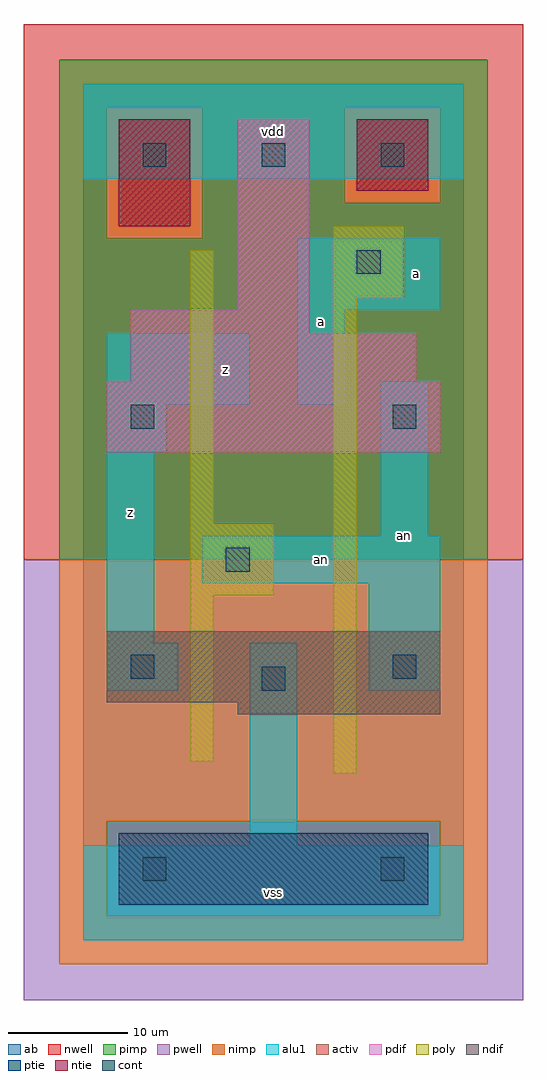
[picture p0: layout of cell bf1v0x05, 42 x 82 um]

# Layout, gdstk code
import gdstk
lib = gdstk.Library(unit=1e-6, precision=1e-09)
def R(c, l, rs):  # rectangles x0, y0, x1, y1
    for r in rs: c.add(gdstk.rectangle(r[:2], r[2:], *l))
def A(c, l, x, y, w, h, nx, ny, dx, dy):  # array of equal rectangles
    R(c, l, [(x+i*dx, y+j*dy, x+i*dx+w, y+j*dy+h) for i in range(nx) for j in range(ny)])
ndif = (3, 0)
pdif = (4, 0)
ntie = (5, 0)
ptie = (6, 0)
cont = (25, 0)
pwell = (41, 0)
nwell = (42, 0)
activ = (43, 0)
pimp = (44, 0)
nimp = (45, 0)
poly = (46, 0)
alu1 = (49, 0)
ab = (63, 0)

bf1v0x05 = lib.new_cell('bf1v0x05')
R(bf1v0x05, ndif, [(13,19,30,20), (2,20,30,26)])
R(bf1v0x05, pdif, [(2,41,30,47), (4,47,28,51), (4,51,19,53), (13,53,19,69)])
R(bf1v0x05, ntie, [(3,60,9,69), (23,63,29,69)])
R(bf1v0x05, ptie, [(3,3,29,9)])
A(bf1v0x05, cont, 5, 65, 2, 2, 3, 1, 10, 0)
R(bf1v0x05, cont, [(5,5,7,7), (25,5,27,7), (15,21,17,23), (4,22,6,24), (26,22,28,24), (12,31,14,33), (4,43,6,45), (26,43,28,45), (23,56,25,58)])
R(bf1v0x05, pwell, [(-5,-5,37,32)])
R(bf1v0x05, nwell, [(-5,32,37,77)])
R(bf1v0x05, activ, [(3,3,29,9), (13,19,30,20), (2,20,30,26), (2,41,30,47), (4,47,28,51), (4,51,19,53), (13,53,19,69), (3,60,9,69), (23,63,29,69)])
R(bf1v0x05, pimp, [(2,2,30,10), (-2,32,34,59), (-2,59,2,70), (10,59,34,62), (10,62,22,70), (30,62,34,70), (-2,70,34,74)])
R(bf1v0x05, nimp, [(-2,-2,34,2), (-2,2,2,10), (30,2,34,10), (-2,10,34,32), (2,59,10,70), (22,62,30,70)])
R(bf1v0x05, poly, [(21,14,23,54), (9,15,11,29), (9,29,16,35), (9,35,11,58), (21,54,27,60)])
R(bf1v0x05, alu1, [(0,0,32,8), (14,8,18,25), (2,21,8,25), (24,21,30,30), (2,25,6,41), (10,30,30,34), (25,34,29,47), (2,41,7,45), (2,45,14,51), (18,45,22,53), (18,53,30,59), (0,64,32,72)])
R(bf1v0x05, ab, [(0,0,32,72)])
bf1v0x05.add(gdstk.Label('an', (20,32), layer=49, texttype=0))
bf1v0x05.add(gdstk.Label('an', (27,34), layer=49, texttype=0))
bf1v0x05.add(gdstk.Label('z', (4,36), layer=49, texttype=0))
bf1v0x05.add(gdstk.Label('vss', (16,4), layer=49, texttype=0))
bf1v0x05.add(gdstk.Label('z', (12,48), layer=49, texttype=0))
bf1v0x05.add(gdstk.Label('vdd', (16,68), layer=49, texttype=0))
bf1v0x05.add(gdstk.Label('a', (20,52), layer=49, texttype=0))
bf1v0x05.add(gdstk.Label('a', (28,56), layer=49, texttype=0))

lib.write_gds('bf1v0x05.gds')
